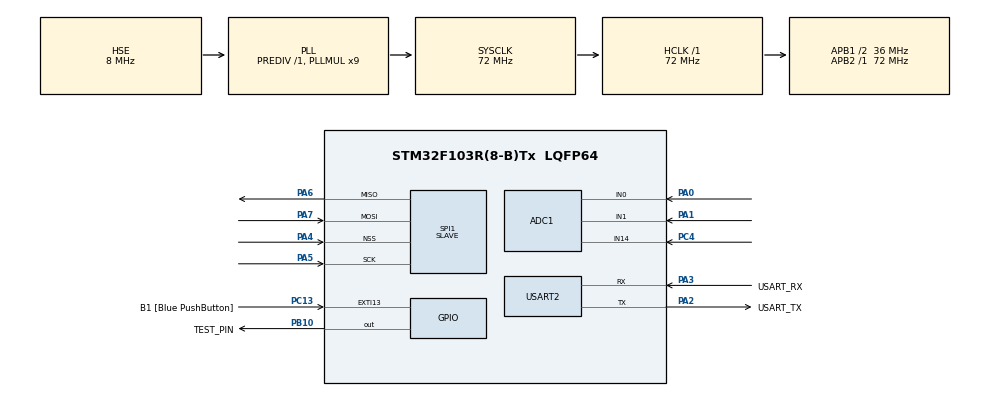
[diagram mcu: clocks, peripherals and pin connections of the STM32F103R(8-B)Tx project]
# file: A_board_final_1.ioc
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ADC1.Channel-0\#ChannelRegularConversion=ADC_CHANNEL_0
ADC1.Channel-1\#ChannelRegularConversion=ADC_CHANNEL_1
ADC1.Channel-2\#ChannelRegularConversion=ADC_CHANNEL_14
ADC1.ContinuousConvMode=DISABLE
ADC1.DataAlign=ADC_DATAALIGN_RIGHT
ADC1.ExternalTrigConv=ADC_EXTERNALTRIGCONV_T3_TRGO
ADC1.NbrOfConversion=3
ADC1.NbrOfConversionFlag=1
ADC1.Rank-0\#ChannelRegularConversion=1
ADC1.Rank-1\#ChannelRegularConversion=2
ADC1.Rank-2\#ChannelRegularConversion=3
ADC1.SamplingTime-0\#ChannelRegularConversion=ADC_SAMPLETIME_55CYCLES_5
ADC1.SamplingTime-1\#ChannelRegularConversion=ADC_SAMPLETIME_55CYCLES_5
ADC1.SamplingTime-2\#ChannelRegularConversion=ADC_SAMPLETIME_55CYCLES_5
ADC1.master=1
Dma.ADC1.0.Direction=DMA_PERIPH_TO_MEMORY
Dma.ADC1.0.Instance=DMA1_Channel1
Dma.ADC1.0.MemDataAlignment=DMA_MDATAALIGN_HALFWORD
Dma.ADC1.0.MemInc=DMA_MINC_ENABLE
Dma.ADC1.0.Mode=DMA_CIRCULAR
Dma.ADC1.0.PeriphDataAlignment=DMA_PDATAALIGN_HALFWORD
Dma.ADC1.0.PeriphInc=DMA_PINC_DISABLE
Dma.ADC1.0.Priority=DMA_PRIORITY_HIGH
Dma.Request0=ADC1
Mcu.Family=STM32F1
Mcu.Name=STM32F103R(8-B)Tx
Mcu.Package=LQFP64
NVIC.DMA1_Channel1_IRQn=true\:0\:0\:false\:false\:true\:false\:true\:true
NVIC.EXTI15_10_IRQn=true\:0\:0\:false\:false\:true\:true\:true\:true
NVIC.PriorityGroup=NVIC_PRIORITYGROUP_4
PA0-WKUP.Signal=ADCx_IN0
PA1.Signal=ADCx_IN1
PA13.GPIO_Label=TMS
PA13.Mode=Serial_Wire
PA13.Signal=SYS_JTMS-SWDIO
PA14.GPIO_Label=TCK
PA14.Mode=Serial_Wire
PA14.Signal=SYS_JTCK-SWCLK
PA2.GPIO_Label=USART_TX
PA2.GPIO_Mode=GPIO_MODE_AF_PP
PA2.GPIO_PuPd=GPIO_NOPULL
PA2.GPIO_Speed=GPIO_SPEED_FREQ_LOW
PA2.Mode=Asynchronous
PA2.Signal=USART2_TX
PA3.GPIO_Label=USART_RX
PA3.GPIO_Mode=GPIO_MODE_AF_PP
PA3.GPIO_PuPd=GPIO_NOPULL
PA3.GPIO_Speed=GPIO_SPEED_FREQ_LOW
PA3.Mode=Asynchronous
PA3.Signal=USART2_RX
PA4.Mode=NSS_Signal_Hard_Input
PA4.Signal=SPI1_NSS
PA5.Mode=Full_Duplex_Slave
PA5.Signal=SPI1_SCK
PA6.Mode=Full_Duplex_Slave
PA6.Signal=SPI1_MISO
PA7.Mode=Full_Duplex_Slave
PA7.Signal=SPI1_MOSI
PB10.GPIO_Label=TEST_PIN
PB10.GPIO_Speed=GPIO_SPEED_FREQ_HIGH
PB10.Signal=GPIO_Output
PB3.GPIO_Label=SWO
PB3.Signal=SYS_JTDO-TRACESWO
PC13-TAMPER-RTC.GPIO_Label=B1 [Blue PushButton]
PC13-TAMPER-RTC.GPIO_PuPd=GPIO_NOPULL
PC13-TAMPER-RTC.Signal=GPXTI13
PC14-OSC32_IN.Mode=LSE-External-Oscillator
PC14-OSC32_IN.Signal=RCC_OSC32_IN
PC15-OSC32_OUT.Mode=LSE-External-Oscillator
PC15-OSC32_OUT.Signal=RCC_OSC32_OUT
PC4.Signal=ADCx_IN14
PD0-OSC_IN.Mode=HSE-External-Clock-Source
PD0-OSC_IN.Signal=RCC_OSC_IN
PD1-OSC_OUT.Mode=HSE-External-Clock-Source
PD1-OSC_OUT.Signal=RCC_OSC_OUT
ProjectManager.HeapSize=0x200
ProjectManager.StackSize=0x400
ProjectManager.TargetToolchain=STM32CubeIDE
RCC.ADCPresc=RCC_ADCPCLK2_DIV6
RCC.AHBFreq_Value=72000000
RCC.APB1CLKDivider=RCC_HCLK_DIV2
RCC.APB1Freq_Value=36000000
RCC.APB1TimFreq_Value=72000000
RCC.APB2Freq_Value=72000000
RCC.APB2TimFreq_Value=72000000
RCC.HCLKFreq_Value=72000000
RCC.PLLMUL=RCC_PLL_MUL9
RCC.PLLSourceVirtual=RCC_PLLSOURCE_HSE
RCC.RTCClockSelection=RCC_RTCCLKSOURCE_LSE
RCC.SYSCLKFreq_VALUE=72000000
RCC.SYSCLKSource=RCC_SYSCLKSOURCE_PLLCLK
RCC.USBFreq_Value=72000000
SH.ADCx_IN0.0=ADC1_IN0,IN0
SH.ADCx_IN1.0=ADC1_IN1,IN1
SH.ADCx_IN14.0=ADC1_IN14,IN14
SPI1.Direction=SPI_DIRECTION_2LINES
SPI1.Mode=SPI_MODE_SLAVE
SPI1.VirtualNSS=VM_NSSHARD
SPI1.VirtualType=VM_SLAVE
TIM3.TIM_MasterOutputTrigger=TIM_TRGO_UPDATE
USART2.VirtualMode=VM_ASYNC
VP_TIM3_VS_ClockSourceINT.Mode=Internal
board=NUCLEO-F103RB

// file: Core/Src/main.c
/* USER CODE BEGIN Header */
/**
  ******************************************************************************
  * @file           : main.c
  * @brief          : Main program body
  ******************************************************************************
  * @attention
  *
  * Copyright (c) 2025 STMicroelectronics.
  * All rights reserved.
  *
  * This software is licensed under terms that can be found in the LICENSE file
  * in the root directory of this software component.
  * If no LICENSE file comes with this software, it is provided AS-IS.
  *
  ******************************************************************************
  */
/* USER CODE END Header */
#include "main.h"

/* USER CODE BEGIN Includes */
#include <stdio.h>  // printf 사용
/* USER CODE END Includes */

/* USER CODE BEGIN PD */

#define QUIET_END_FRAMES     5u   // 조용한 프레임이 이만큼 연속되면 이벤트 종료

// ===== 기본 설정 =====
#define N_CH        3
#define FRAME_LEN   160                         // 20 ms @ 8 kHz
#define DMA_BUF_LEN (N_CH * FRAME_LEN * 2)      // 더블 버퍼 (Half/Full)
#define FRONT_BACK_RATIO_X100  150   // front >= 1.5x back 이면 "앞소리"로 간주

// ===== 이벤트·다수결 관련 설정 =====
// 한 번 소리가 난 뒤, 최대 몇 프레임까지 모아서 판단할지
// 70프레임 × 20ms = 1400ms
#define EVENT_MAX_FRAMES     70

// 유효한 이벤트로 인정할 최소 프레임 수
// 15프레임 × 20ms = 300ms
#define EVENT_MIN_FRAMES     15

// LB / RB / BACK 중 하나가 "거의 대부분"일 때 기준 (%)
#define STRONG_BACKSIDE_PCT  80    // 80% 이상이면 LEFT / RIGHT / BACK으로 승격

// TEST_PIN 토글은 레지스터(BSRR)로 처리
#define CPU_BUSY_ON()   (TEST_PIN_GPIO_Port->BSRR = TEST_PIN_Pin)
#define CPU_BUSY_OFF()  (TEST_PIN_GPIO_Port->BSRR = (uint32_t)TEST_PIN_Pin << 16U)

// 방향 개수 (DIR_QUIET ~ DIR_RIGHT까지 6개)
#define DIR_COUNT            6

// ===== SPI 관련 설정 =====
#define SPI_LEN              5    // C보드가 5바이트 클럭 준다고 가정

// ===== 소음 임계값 관련 설정 =====
typedef enum {
    NOISE_MODE_QUIET = 0,   // 조용함 (작은 소리도 감지)
    NOISE_MODE_NORMAL = 1,  // 보통
    NOISE_MODE_NOISY = 2    // 시끄러움 (큰 소리만 감지)
} NoiseMode;

// 모드별 임계값 (실험하면서 이 숫자들을 튜닝!)
#define TH_SILENCE_QUIET   10000000ULL
#define TH_SILENCE_NORMAL  10000000ULL
#define TH_SILENCE_NOISY   10000000ULL

#define K_EDGE_STRONG_PCT    80   // k = ±5가 이 비율(%) 이상이면 LEFT/RIGHT
#define K_CENTER_STRONG_PCT  80   // k = -1,0,+1 이 이 비율(%) 이상이면 BACK

// 방향 이름 정의 (0~5)
typedef enum {
    DIR_QUIET = 0,    // 조용
    DIR_LEFT,         // 왼쪽
    DIR_LEFT_BACK,    // 왼쪽 뒤
    DIR_BACK,         // 뒤 (가운데)
    DIR_RIGHT_BACK,   // 오른쪽 뒤
    DIR_RIGHT         // 오른쪽
} SoundDir;

// 결과 저장용 구조체
typedef struct {
    SoundDir dir;
    uint16_t level;
    uint32_t E_L;
    uint32_t E_F;
    uint32_t E_R;
} SoundResult;

// 한 번 말하기(이벤트) 동안 프레임들을 누적할 구조체
typedef struct {
    uint8_t  active;             // 현재 이벤트 진행 중인가? (0/1)
    uint8_t  n_frames;           // 이번 이벤트에 포함된 프레임 수
    uint16_t counts[DIR_COUNT];  // 방향별 프레임 카운트 (디버그용)
    uint16_t k_hist[11];         // k = -5 ~ +5 히스토그램 (idx 0 -> -5, 10 -> +5)

    uint64_t sum_front_E;        // 이벤트 동안 FRONT 에너지 누적
    uint64_t sum_back_E;         // 이벤트 동안 BACK(L+R) 에너지 누적
} DirEvent;

/* USER CODE END PD */

ADC_HandleTypeDef hadc1;
DMA_HandleTypeDef hdma_adc1;

SPI_HandleTypeDef hspi1;

TIM_HandleTypeDef htim3;

UART_HandleTypeDef huart2;

/* USER CODE BEGIN PV */

volatile uint8_t g_quiet_run = 0;   // 이벤트 진행 중 연속 "조용 프레임" 개수
// DMA가 쉴 새 없이 채우는 원형 버퍼 (날것 데이터)
uint16_t adc_buf[DMA_BUF_LEN];

// 계산하기 좋게 정제된 프레임 (오프셋 뺀 값 저장)
int16_t  frame_buf[N_CH][FRAME_LEN];

// "프레임 다 찼다! 계산해라!" 깃발 (0:대기, 1:준비완료)
volatile uint8_t frame_ready = 0;

SoundResult last_result;
DirEvent    g_event = {0};

// === SPI 통신용 전역 변수 ===
uint8_t slaveTxBuf[SPI_LEN];
uint8_t slaveRxBuf[SPI_LEN];

// A보드가 C보드로 보내는 방향 코드 (0~5)
// 0: QUIET, 1: LEFT, 2: LEFT_BACK, 3: BACK, 4: RIGHT_BACK, 5: RIGHT
volatile uint8_t g_dir_code = 0;

// 현재 적용된 소음 모드와 임계값
volatile NoiseMode g_noise_mode = NOISE_MODE_NORMAL;
volatile uint64_t  g_th_silence = TH_SILENCE_NORMAL;

// SPI 연결 여부 플래그
// 0: C보드 연결 안 됨 (테스트 모드) -> SPI 오류 무시
// 1: C보드 연결 됨 (실전 모드) -> SPI 통신 수행
uint8_t g_spi_enabled = 1;

/* USER CODE END PV */

void SystemClock_Config(void);
static void MX_GPIO_Init(void);
static void MX_DMA_Init(void);
static void MX_ADC1_Init(void);
static void MX_USART2_UART_Init(void);
static void MX_TIM3_Init(void);
static void MX_SPI1_Init(void);
/* USER CODE BEGIN PFP */

// ADC DMA 버퍼 → frame_buf로 복사
void copy_to_frame_buf(uint32_t start_idx);

// 프레임 처리
void process_frame(void);

// 문자열 변환
const char* dir_to_str(SoundDir d);

// 이벤트 종료 시 최종 방향 결정
void finalize_event(void);

// SPI 관련
uint8_t dir_to_code(SoundDir d);
void A_SPI_SendDir(void);

/* USER CODE END PFP */

int main(void)
{

  /* MCU Configuration--------------------------------------------------------*/

  /* Reset of all peripherals, Initializes the Flash interface and the Systick. */
  HAL_Init();

  /* Configure the system clock */
  SystemClock_Config();

  /* Initialize all configured peripherals */
  MX_GPIO_Init();
  MX_DMA_Init();
  MX_ADC1_Init();
  MX_USART2_UART_Init();
  MX_TIM3_Init();
  MX_SPI1_Init();
  /* USER CODE BEGIN 2 */

  // 1) ADC 캘리브레이션
  HAL_ADCEx_Calibration_Start(&hadc1);

  // 2) ADC + DMA 시작 (adc_buf는 USER CODE PV에 선언)
  HAL_ADC_Start_DMA(&hadc1, (uint32_t*)adc_buf, DMA_BUF_LEN);

  // 3) TIM3 베이스 타이머 시작 (TRGO로 8kHz 트리거 발생)
  HAL_TIM_Base_Start(&htim3);

  /* USER CODE END 2 */

  /* Infinite loop */
  /* USER CODE BEGIN WHILE */
  while (1)
  {
      // 프레임 하나 완성될 때마다 처리
      if (frame_ready) {
          frame_ready = 0;
          process_frame();
      }
    /* USER CODE END WHILE */

  }
}

void SystemClock_Config(void)
{
  RCC_OscInitTypeDef RCC_OscInitStruct = {0};
  RCC_ClkInitTypeDef RCC_ClkInitStruct = {0};
  RCC_PeriphCLKInitTypeDef PeriphClkInit = {0};

  /** Initializes the RCC Oscillators according to the specified parameters
  * in the RCC_OscInitTypeDef structure.
  */
  RCC_OscInitStruct.OscillatorType = RCC_OSCILLATORTYPE_HSE;
  RCC_OscInitStruct.HSEState = RCC_HSE_BYPASS;
  RCC_OscInitStruct.HSEPredivValue = RCC_HSE_PREDIV_DIV1;
  RCC_OscInitStruct.HSIState = RCC_HSI_ON;
  RCC_OscInitStruct.PLL.PLLState = RCC_PLL_ON;
  RCC_OscInitStruct.PLL.PLLSource = RCC_PLLSOURCE_HSE;
  RCC_OscInitStruct.PLL.PLLMUL = RCC_PLL_MUL9;
  if (HAL_RCC_OscConfig(&RCC_OscInitStruct) != HAL_OK)
  {
    Error_Handler();
  }

  /** Initializes the CPU, AHB and APB buses clocks
  */
  RCC_ClkInitStruct.ClockType = RCC_CLOCKTYPE_HCLK|RCC_CLOCKTYPE_SYSCLK
                              |RCC_CLOCKTYPE_PCLK1|RCC_CLOCKTYPE_PCLK2;
  RCC_ClkInitStruct.SYSCLKSource = RCC_SYSCLKSOURCE_PLLCLK;
  RCC_ClkInitStruct.AHBCLKDivider = RCC_SYSCLK_DIV1;
  RCC_ClkInitStruct.APB1CLKDivider = RCC_HCLK_DIV2;
  RCC_ClkInitStruct.APB2CLKDivider = RCC_HCLK_DIV1;

  if (HAL_RCC_ClockConfig(&RCC_ClkInitStruct, FLASH_LATENCY_2) != HAL_OK)
  {
    Error_Handler();
  }
  PeriphClkInit.PeriphClockSelection = RCC_PERIPHCLK_ADC;
  PeriphClkInit.AdcClockSelection = RCC_ADCPCLK2_DIV6;
  if (HAL_RCCEx_PeriphCLKConfig(&PeriphClkInit) != HAL_OK)
  {
    Error_Handler();
  }
}

static void MX_ADC1_Init(void)
{

  ADC_ChannelConfTypeDef sConfig = {0};

  /** Common config
  */
  hadc1.Instance = ADC1;
  hadc1.Init.ScanConvMode = ADC_SCAN_ENABLE;
  hadc1.Init.ContinuousConvMode = DISABLE;
  hadc1.Init.DiscontinuousConvMode = DISABLE;
  hadc1.Init.ExternalTrigConv = ADC_EXTERNALTRIGCONV_T3_TRGO;
  hadc1.Init.DataAlign = ADC_DATAALIGN_RIGHT;
  hadc1.Init.NbrOfConversion = 3;
  if (HAL_ADC_Init(&hadc1) != HAL_OK)
  {
    Error_Handler();
  }

  /** Configure Regular Channel
  *  CH0 -> back-left (PA0)
  */
  sConfig.Channel = ADC_CHANNEL_0;
  sConfig.Rank = ADC_REGULAR_RANK_1;
  sConfig.SamplingTime = ADC_SAMPLETIME_55CYCLES_5;
  if (HAL_ADC_ConfigChannel(&hadc1, &sConfig) != HAL_OK)
  {
    Error_Handler();
  }

  /** Configure Regular Channel
  *  CH1 -> front (PB0)
  */
  sConfig.Channel = ADC_CHANNEL_1;
  sConfig.Rank = ADC_REGULAR_RANK_2;
  if (HAL_ADC_ConfigChannel(&hadc1, &sConfig) != HAL_OK)
  {
    Error_Handler();
  }

  /** Configure Regular Channel
  *  CH14 -> back-right (PC4)
  */
  sConfig.Channel = ADC_CHANNEL_14;
  sConfig.Rank = ADC_REGULAR_RANK_3;
  if (HAL_ADC_ConfigChannel(&hadc1, &sConfig) != HAL_OK)
  {
    Error_Handler();
  }

}

static void MX_SPI1_Init(void)
{

  /* SPI1 parameter configuration*/
  hspi1.Instance = SPI1;
  hspi1.Init.Mode = SPI_MODE_SLAVE;
  hspi1.Init.Direction = SPI_DIRECTION_2LINES;
  hspi1.Init.DataSize = SPI_DATASIZE_8BIT;
  hspi1.Init.CLKPolarity = SPI_POLARITY_LOW;
  hspi1.Init.CLKPhase = SPI_PHASE_1EDGE;
  hspi1.Init.NSS = SPI_NSS_HARD_INPUT;
  hspi1.Init.FirstBit = SPI_FIRSTBIT_MSB;
  hspi1.Init.TIMode = SPI_TIMODE_DISABLE;
  hspi1.Init.CRCCalculation = SPI_CRCCALCULATION_DISABLE;
  hspi1.Init.CRCPolynomial = 10;
  if (HAL_SPI_Init(&hspi1) != HAL_OK)
  {
    Error_Handler();
  }

}

static void MX_TIM3_Init(void)
{

  /* USER CODE BEGIN TIM3_Init 1 */

  // TIM3 클럭 enable
  __HAL_RCC_TIM3_CLK_ENABLE();

  // 핸들에 인스턴스만 채워서 HAL_TIM_Base_Start가 사용할 수 있게 함
  htim3.Instance = TIM3;

  // 타이머 클럭: 72 MHz (APB1=36MHz, 타이머는 x2)
  // 72MHz / ((PSC+1)*(ARR+1)) = 8kHz
  // (PSC+1) = 72, (ARR+1) = 125 => PSC=71, ARR=124
  TIM3->PSC = 71;
  TIM3->ARR = 124;

  // 업카운터, 자동 리로드, UEV on overflow
  TIM3->CR1 = 0;
  TIM3->CR1 |= TIM_CR1_ARPE;   // Auto-reload preload enable

  // TRGO: update 이벤트를 TRGO로 내보내기
  TIM3->CR2 &= ~TIM_CR2_MMS;
  TIM3->CR2 |= TIM_CR2_MMS_1;  // MMS = 010: Update event

  /* USER CODE END TIM3_Init 1 */

  /* USER CODE BEGIN TIM3_Init 2 */
  // 나머지 설정은 기본값 그대로 사용
  /* USER CODE END TIM3_Init 2 */
}

static void MX_USART2_UART_Init(void)
{

  huart2.Instance = USART2;
  huart2.Init.BaudRate = 115200;
  huart2.Init.WordLength = UART_WORDLENGTH_8B;
  huart2.Init.StopBits = UART_STOPBITS_1;
  huart2.Init.Parity = UART_PARITY_NONE;
  huart2.Init.Mode = UART_MODE_TX_RX;
  huart2.Init.HwFlowCtl = UART_HWCONTROL_NONE;
  huart2.Init.OverSampling = UART_OVERSAMPLING_16;
  if (HAL_UART_Init(&huart2) != HAL_OK)
  {
    Error_Handler();
  }
  /* USER CODE BEGIN USART2_Init 2 */
  // 핀 설정/클럭 enable은 HAL_UART_Init + MSP에서 처리
  /* USER CODE END USART2_Init 2 */

}

static void MX_DMA_Init(void)
{

  /* DMA controller clock enable */
  __HAL_RCC_DMA1_CLK_ENABLE();

  /* DMA interrupt init */
  /* DMA1_Channel1_IRQn interrupt configuration */
  HAL_NVIC_SetPriority(DMA1_Channel1_IRQn, 0, 0);
  HAL_NVIC_EnableIRQ(DMA1_Channel1_IRQn);

}

static void MX_GPIO_Init(void)
{
  GPIO_InitTypeDef GPIO_InitStruct = {0};

  /* GPIO Ports Clock Enable */
  __HAL_RCC_GPIOC_CLK_ENABLE();
  __HAL_RCC_GPIOD_CLK_ENABLE();
  __HAL_RCC_GPIOA_CLK_ENABLE();
  __HAL_RCC_GPIOB_CLK_ENABLE();

  /*Configure GPIO pin Output Level */
  HAL_GPIO_WritePin(TEST_PIN_GPIO_Port, TEST_PIN_Pin, GPIO_PIN_RESET);

  /*Configure GPIO pin : B1_Pin */
  GPIO_InitStruct.Pin = B1_Pin;
  GPIO_InitStruct.Mode = GPIO_MODE_IT_RISING;
  GPIO_InitStruct.Pull = GPIO_NOPULL;
  HAL_GPIO_Init(B1_GPIO_Port, &GPIO_InitStruct);

  /*Configure GPIO pin : TEST_PIN_Pin */
  GPIO_InitStruct.Pin = TEST_PIN_Pin;
  GPIO_InitStruct.Mode = GPIO_MODE_OUTPUT_PP;
  GPIO_InitStruct.Pull = GPIO_NOPULL;
  GPIO_InitStruct.Speed = GPIO_SPEED_FREQ_HIGH;
  HAL_GPIO_Init(TEST_PIN_GPIO_Port, &GPIO_InitStruct);

  /* EXTI interrupt init*/
  HAL_NVIC_SetPriority(EXTI15_10_IRQn, 0, 0);
  HAL_NVIC_EnableIRQ(EXTI15_10_IRQn);

}

/* USER CODE BEGIN 4 */

// printf용 (UART2에 printf 연결) - 레지스터 기반 송신
int _write(int file, char *ptr, int len)
{
    (void)file;
    for (int i = 0; i < len; i++) {
        // TXE 플래그가 세트될 때까지 대기
        while (!(USART2->SR & USART_SR_TXE)) {
            // wait
        }
        USART2->DR = (uint8_t)ptr[i];
    }
    return len;
}

// 방향 → 코드
uint8_t dir_to_code(SoundDir d)
{
    // 원본 코드 기준: enum 값에 +1 (QUIET=0 → 1, LEFT=1 → 2, ...)
    return (uint8_t)d + 1;
}

// SPI로 방향 전송
void A_SPI_SendDir(void)
{
    // 테스트 모드: C보드 연결 없이 동작 확인용
    if (g_spi_enabled == 0) {
        printf("[TEST_MODE] Dir Determined: code=%d (%s) | Current TH=%llu\r\n",
               g_dir_code, dir_to_str(last_result.dir), g_th_silence);
        return;
    }

    // 첫 바이트에 방향 코드, 나머지는 0으로 채움
    slaveTxBuf[0] = g_dir_code;
    for (int i = 1; i < SPI_LEN; i++) {
        slaveTxBuf[i] = 0;
    }

    // C보드(Master)가 SPI_LEN 바이트만큼 클럭을 줄 때,
    // A보드(Slave)는 slaveTxBuf를 MISO로 내보내고, MOSI 데이터를 slaveRxBuf에 받음.
    HAL_StatusTypeDef status =
        HAL_SPI_TransmitReceive(&hspi1, slaveTxBuf, slaveRxBuf, SPI_LEN, 1000);

    if (status == HAL_OK) {
        // 수신된 데이터로 모드 및 임계값 갱신
        uint8_t rx_mode = slaveRxBuf[0];
        if (rx_mode <= NOISE_MODE_NOISY) {
            g_noise_mode = (NoiseMode)rx_mode;
            switch (g_noise_mode) {
                case NOISE_MODE_QUIET:  g_th_silence = TH_SILENCE_QUIET;  break;
                case NOISE_MODE_NORMAL: g_th_silence = TH_SILENCE_NORMAL; break;
                case NOISE_MODE_NOISY:  g_th_silence = TH_SILENCE_NOISY;  break;
            }
        }

        printf("[SPI] Sent dir_code=%d, C->A MOSI: %d | Updated TH=%llu\r\n",
               g_dir_code, slaveRxBuf[0], g_th_silence);

    } else {
        printf("[SPI] TransmitReceive error (status=%d)\r\n", status);
    }
}

// DMA 절반 완료 콜백 (앞쪽 20ms)
void HAL_ADC_ConvHalfCpltCallback(ADC_HandleTypeDef* hadc)
{
    if (hadc->Instance == ADC1) {
        copy_to_frame_buf(0);           // 앞쪽 절반 복사
        frame_ready = 1;
    }
}

// DMA 전체 완료 콜백 (뒤쪽 20ms)
void HAL_ADC_ConvCpltCallback(ADC_HandleTypeDef* hadc)
{
    if (hadc->Instance == ADC1) {
        copy_to_frame_buf(DMA_BUF_LEN / 2); // 뒤쪽 절반 복사
        frame_ready = 1;
    }
}

// ADC DMA 버퍼 → frame_buf로 복사 (+ DC 오프셋 제거)
void copy_to_frame_buf(uint32_t start_idx)
{
    for (int n = 0; n < FRAME_LEN; n++) {
        uint16_t rawL = adc_buf[start_idx + n * N_CH + 0]; // PA0 (back-left)
        uint16_t rawC = adc_buf[start_idx + n * N_CH + 1]; // PB0 (front)
        uint16_t rawR = adc_buf[start_idx + n * N_CH + 2]; // PC4 (back-right)

        frame_buf[0][n] = (int16_t)rawL - 2048;
        frame_buf[1][n] = (int16_t)rawC - 2048;
        frame_buf[2][n] = (int16_t)rawR - 2048;
    }
}

// 프레임 처리 (에너지 계산 + Cross-correlation + 이벤트 누적)
void process_frame(void)
{
    uint64_t E_L = 0;
    uint64_t E_F = 0;   // FRONT
    uint64_t E_R = 0;
    uint64_t total_E = 0;

    for (int n = 0; n < FRAME_LEN; n++) {
        int16_t l = frame_buf[0][n];  // back-left
        int16_t f = frame_buf[1][n];  // front
        int16_t r = frame_buf[2][n];  // back-right

        E_L += (uint64_t)l * l;
        E_F += (uint64_t)f * f;
        E_R += (uint64_t)r * r;
    }

    // VAD용 전체 에너지: (L + F + R)
    total_E = E_L + E_F + E_R;

    // 소음 임계값 (환경에 맞춰 조절)
    uint64_t current_th = g_th_silence;

    // === 1) 조용해진 프레임 처리 (hangover 적용) ===
    if (total_E < current_th) {

        if (g_event.active) {
            // 이벤트 중인데, 에너지가 잠깐 떨어진 상황
            g_quiet_run++;

            // 아직 충분히 "오래" 조용하지 않으면, 이벤트 유지
            if (g_quiet_run < QUIET_END_FRAMES)
            {
                // 이 프레임에서는 k 계산도 안 하고 그냥 넘어감
                return;
            }

            // 여기까지 왔다는 건: 조용 프레임이 QUIET_END_FRAMES 이상 연속
            if (g_event.n_frames >= EVENT_MIN_FRAMES) {
                finalize_event();
            }
        }

        // 이벤트 완전 종료 및 리셋
        g_event.active   = 0;
        g_event.n_frames = 0;
        for (int i = 0; i < DIR_COUNT; i++) {
            g_event.counts[i] = 0;
        }
        for (int i = 0; i < 11; i++) {
            g_event.k_hist[i] = 0;
        }

        g_quiet_run = 0;  // 조용 카운터도 리셋
        return;
    }

    // 소리가 있는 프레임이 나오면 quiet 카운터 리셋
    g_quiet_run = 0;

    // === 여기부터가 "CPU가 진짜 바쁜 구간" ===
    CPU_BUSY_ON();   // ★ 오실로스코프 HIGH 구간 시작

    // 디버그 출력
    printf("[ENERGY] L=%lu F=%lu R=%lu total=%lu\r\n",
           (uint32_t)E_L,
           (uint32_t)E_F,
           (uint32_t)E_R,
           (uint32_t)total_E);

    // 2. Cross-Correlation (back-left vs back-right, 시간차 계산)
    const int MAX_LAG = 5;      // ±5 샘플 범위
    int64_t corr[11];

    for (int i = 0; i < 11; i++) {
        corr[i] = 0;
    }

    for (int n = MAX_LAG; n < FRAME_LEN - MAX_LAG; n++) {
        int16_t val_L = frame_buf[0][n];

        for (int k = -MAX_LAG; k <= MAX_LAG; k++) {
            int16_t val_R = frame_buf[2][n - k];
            corr[k + MAX_LAG] += (int64_t)val_L * val_R;
        }
    }

    // 3. 가장 큰 상관계수에 해당하는 lag(best_k) 찾기
    int     best_k        = 0;
    int64_t max_corr_val  = -9223372036854775807LL;

    for (int k = -MAX_LAG; k <= MAX_LAG; k++) {
        int idx = k + MAX_LAG;
        if (corr[idx] > max_corr_val) {
            max_corr_val = corr[idx];
            best_k       = k;
        }
    }

    // 4. k값을 방향으로 매핑 (프레임 단위 방향 d)
    //    (의도: ±5만 LEFT/RIGHT, 나머지는 BACK 계열 느낌)
    SoundDir d;

    if (best_k >= 5) {
        d = DIR_RIGHT;
    } else if (best_k >= 2) {
        d = DIR_RIGHT_BACK;
    } else if (best_k >= -1) {
        d = DIR_BACK;
    } else if (best_k >= -4) {
        d = DIR_LEFT_BACK;
    } else {
        d = DIR_LEFT;
    }

    // === 이벤트 단위 누적 ===
    if (!g_event.active) {
        // 새 이벤트 시작
        g_event.active   = 1;
        g_event.n_frames = 0;
        for (int i = 0; i < DIR_COUNT; i++) {
            g_event.counts[i] = 0;
        }
        for (int i = 0; i < 11; i++) {
            g_event.k_hist[i] = 0;
        }
        g_event.sum_front_E = 0;
        g_event.sum_back_E  = 0;
    }

    if (g_event.n_frames < EVENT_MAX_FRAMES) {
        g_event.counts[d]++;        // 방향별 카운트(디버그용)
        g_event.n_frames++;

        // k 히스토그램 누적: index 0~10 -> k = -5~+5
        int idx = best_k + 5;       // -5 -> 0, ..., +5 -> 10
        if (idx >= 0 && idx < 11) {
            g_event.k_hist[idx]++;
        }
        // 이번 프레임의 front/back 에너지 누적
        g_event.sum_front_E += E_F;
        g_event.sum_back_E  += (E_L + E_R);
    }

    // 디버그용 프레임 로그
    printf("[FRAME] k=%2d | d=%-10s | totalE=%lu | event_frames=%d\r\n",
           best_k, dir_to_str(d), (uint32_t)total_E, g_event.n_frames);

    // 프레임을 충분히 모았으면 이벤트 종료 후 최종 판단
    if (g_event.n_frames >= EVENT_MAX_FRAMES) {
        finalize_event();

        g_event.active   = 0;
        g_event.n_frames = 0;
        for (int i = 0; i < DIR_COUNT; i++) {
            g_event.counts[i] = 0;
        }
        for (int i = 0; i < 11; i++) {
            g_event.k_hist[i] = 0;
        }
        g_event.sum_front_E = 0;
        g_event.sum_back_E  = 0;
    }

    CPU_BUSY_OFF();  // ★ heavy 연산 구간 끝나면 LOW로 내려줌
}

// 한 번 말하기 이벤트가 끝났을 때, 프레임들을 모아서 최종 방향 결정
void finalize_event(void)
{
    uint16_t total = g_event.n_frames;
    if (total < EVENT_MIN_FRAMES) {
        // 너무 짧은 이벤트는 버림
        return;
    }

    // 1) 기존 방향 카운트 (디버그용)
    uint16_t cL  = g_event.counts[DIR_LEFT];
    uint16_t cLB = g_event.counts[DIR_LEFT_BACK];
    uint16_t cB  = g_event.counts[DIR_BACK];
    uint16_t cRB = g_event.counts[DIR_RIGHT_BACK];
    uint16_t cR  = g_event.counts[DIR_RIGHT];

    // 2) k 히스토그램 기반 그룹 집계 (의도: 끝단 ±5를 순수 LEFT/RIGHT로)
    // idx 0~10 -> k = -5 ~ +5
    uint16_t c_left      = g_event.k_hist[0];                                  // k = -5
    uint16_t c_left_back = g_event.k_hist[1] + g_event.k_hist[2] + g_event.k_hist[3]; // k = -4,-3,-2
    uint16_t c_back      = g_event.k_hist[4] + g_event.k_hist[5] + g_event.k_hist[6]; // k = -1,0,1
    uint16_t c_right_back= g_event.k_hist[7] + g_event.k_hist[8] + g_event.k_hist[9]; // k = 2,3,4
    uint16_t c_right     = g_event.k_hist[10];                                 // k = +5

    uint16_t left_group_total  = c_left + c_left_back;        // left 계열 전체
    uint16_t right_group_total = c_right + c_right_back;      // right 계열 전체

    // 각 핵심 bin 비율 (%)
    uint16_t p_left  = (uint16_t)(100u * c_left  / total);
    uint16_t p_right = (uint16_t)(100u * c_right / total);
    uint16_t p_back  = (uint16_t)(100u * c_back  / total);

    SoundDir final_dir;

    // ===== k 기반 방향 판단 로직 =====
    // 1) right bin(끝단 +5) 비율이 크면 -> RIGHT
    if (p_right >= K_EDGE_STRONG_PCT && p_right >= p_left && p_right >= p_back) {
        final_dir = DIR_RIGHT;
    }
    // 2) left bin(끝단 -5) 비율이 크면 -> LEFT
    else if (p_left >= K_EDGE_STRONG_PCT && p_left >= p_right && p_left >= p_back) {
        final_dir = DIR_LEFT;
    }
    // 3) back bin(-1,0,1) 비율이 크면 -> BACK
    else if (p_back >= K_CENTER_STRONG_PCT) {
        final_dir = DIR_BACK;
    }
    // 4) 셋 다 애매하면: 계열 비교로 LEFT_BACK / RIGHT_BACK
    else {
        if (left_group_total > right_group_total) {
            final_dir = DIR_LEFT_BACK;
        } else if (right_group_total > left_group_total) {
            final_dir = DIR_RIGHT_BACK;
        } else {
            // 완전 비슷하면 BACK으로 처리
            final_dir = DIR_BACK;
        }
    }
    // =========================

    // ===== 여기부터 앞/뒤 에너지 비율로 필터링 =====
    uint64_t frontE = g_event.sum_front_E;      // 이벤트 전체 FRONT 에너지
    uint64_t backE  = g_event.sum_back_E;       // 이벤트 전체 BACK(L+R) 에너지
    uint8_t  is_front = 0;

    if (backE == 0) {
        // 등쪽이 거의 0인데 앞만 크면 그냥 앞소리로 본다
        if (frontE > 0) {
            is_front = 1;
        }
    } else {
        // frontE / backE >= FRONT_BACK_RATIO_X100 / 100 ?
        if (frontE * 100 >= backE * FRONT_BACK_RATIO_X100) {
            is_front = 1;
        }
    }

    if (is_front) {
        // 앞에서 난 소리면: 방향 안 보냄
        last_result.dir = DIR_QUIET;
        g_dir_code = 0;   // C보드에서 0을 "방향 없음(앞소리)"로 처리

        printf(">>> FRONT-DOMINANT EVENT: frontE=%llu, backE=%llu -> IGNORE DIRECTION\r\n",
               (unsigned long long)frontE,
               (unsigned long long)backE);
    } else {
        // 뒤쪽(등)에서 난 소리면 기존대로 방향 사용
        last_result.dir = final_dir;
        g_dir_code = dir_to_code(final_dir);
    }

    // 이벤트 요약 로그
    printf("=== EVENT DONE ===\r\n");
    printf("  DIR-counts L=%d LB=%d B=%d RB=%d R=%d (frames=%d)\r\n",
           cL, cLB, cB, cRB, cR, total);
    printf("  k-bins: L(-5)=%d, LB(-4,-3,-2)=%d, B(-1,0,1)=%d, RB(2,3,4)=%d, R(+5)=%d\r\n",
           c_left, c_left_back, c_back, c_right_back, c_right);
    printf("  pL=%d pR=%d pB=%d | leftG=%d rightG=%d -> FINAL=%s (code=%d)\r\n",
           p_left, p_right, p_back,
           left_group_total, right_group_total,
           dir_to_str(is_front ? DIR_QUIET : final_dir), g_dir_code);

    // ★ 최종 방향 결정되었을 때 SPI로 바로 전송 ★
    A_SPI_SendDir();
}

// 문자열 변환
const char* dir_to_str(SoundDir d)
{
    switch (d) {
        case DIR_QUIET:      return "QUIET";
        case DIR_LEFT:       return "LEFT";
        case DIR_LEFT_BACK:  return "LEFT_BACK";
        case DIR_BACK:       return "BACK";
        case DIR_RIGHT_BACK: return "RIGHT_BACK";
        case DIR_RIGHT:      return "RIGHT";
        default:             return "???";
    }
}

/* USER CODE END 4 */

void Error_Handler(void)
{
  __disable_irq();
  while (1)
  {
  }
}

#ifdef USE_FULL_ASSERT
/**
  * @brief  Reports the name of the source file and the source line number
  *         where the assert_param error has occurred.
  * @param  file: pointer to the source file name
  * @param  line: assert_param error line source number
  * @retval None
  */
void assert_failed(uint8_t *file, uint32_t line)
{
  /* USER CODE BEGIN 6 */
  (void)file;
  (void)line;
  /* USER CODE END 6 */
}
#endif /* USE_FULL_ASSERT */
